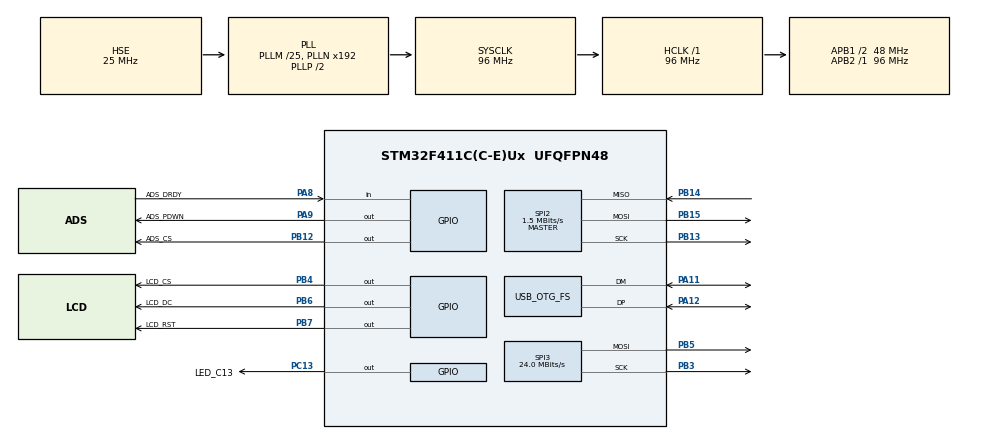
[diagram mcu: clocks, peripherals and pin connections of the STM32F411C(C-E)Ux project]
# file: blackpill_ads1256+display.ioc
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Mcu.Family=STM32F4
Mcu.Name=STM32F411C(C-E)Ux
Mcu.Package=UFQFPN48
NVIC.OTG_FS_IRQn=true\:0\:0\:false\:false\:true\:false\:true\:true
NVIC.PriorityGroup=NVIC_PRIORITYGROUP_4
PA11.Mode=Device_Only
PA11.Signal=USB_OTG_FS_DM
PA12.Mode=Device_Only
PA12.Signal=USB_OTG_FS_DP
PA8.GPIO_Label=ADS_DRDY
PA8.GPIO_PuPd=GPIO_PULLUP
PA8.Signal=GPIO_Input
PA9.GPIO_Label=ADS_PDWN
PA9.Signal=GPIO_Output
PB12.GPIO_Label=ADS_CS
PB12.Signal=GPIO_Output
PB13.Mode=Full_Duplex_Master
PB13.Signal=SPI2_SCK
PB14.Mode=Full_Duplex_Master
PB14.Signal=SPI2_MISO
PB15.Mode=Full_Duplex_Master
PB15.Signal=SPI2_MOSI
PB3.Mode=TX_Only_Simplex_Unidirect_Master
PB3.Signal=SPI3_SCK
PB4.GPIO_Label=LCD_CS
PB4.PinState=GPIO_PIN_SET
PB4.Signal=GPIO_Output
PB5.Mode=TX_Only_Simplex_Unidirect_Master
PB5.Signal=SPI3_MOSI
PB6.GPIO_Label=LCD_DC
PB6.PinState=GPIO_PIN_SET
PB6.Signal=GPIO_Output
PB7.GPIO_Label=LCD_RST
PB7.PinState=GPIO_PIN_SET
PB7.Signal=GPIO_Output
PC13-ANTI_TAMP.GPIO_Label=LED_C13
PC13-ANTI_TAMP.Signal=GPIO_Output
PH0\ -\ OSC_IN.Mode=HSE-External-Oscillator
PH0\ -\ OSC_IN.Signal=RCC_OSC_IN
PH1\ -\ OSC_OUT.Mode=HSE-External-Oscillator
PH1\ -\ OSC_OUT.Signal=RCC_OSC_OUT
ProjectManager.HeapSize=0x200
ProjectManager.StackSize=0x400
ProjectManager.TargetToolchain=STM32CubeIDE
RCC.48MHZClocksFreq_Value=48000000
RCC.AHBFreq_Value=96000000
RCC.APB1CLKDivider=RCC_HCLK_DIV2
RCC.APB1Freq_Value=48000000
RCC.APB1TimFreq_Value=96000000
RCC.APB2Freq_Value=96000000
RCC.APB2TimFreq_Value=96000000
RCC.CortexFreq_Value=96000000
RCC.HCLKFreq_Value=96000000
RCC.HSE_VALUE=25000000
RCC.HSI_VALUE=16000000
RCC.LSE_VALUE=32768
RCC.PLLM=25
RCC.SYSCLKFreq_VALUE=96000000
RCC.SYSCLKSource=RCC_SYSCLKSOURCE_PLLCLK
RCC.VCOOutputFreq_Value=192000000
SPI2.BaudRatePrescaler=SPI_BAUDRATEPRESCALER_32
SPI2.CLKPhase=SPI_PHASE_2EDGE
SPI2.CalculateBaudRate=1.5 MBits/s
SPI2.Direction=SPI_DIRECTION_2LINES
SPI2.Mode=SPI_MODE_MASTER
SPI2.VirtualType=VM_MASTER
SPI3.CalculateBaudRate=24.0 MBits/s
SPI3.Direction=SPI_DIRECTION_2LINES
SPI3.Mode=SPI_MODE_MASTER
SPI3.VirtualType=VM_MASTER
USB_DEVICE.CLASS_NAME_FS=CDC
USB_DEVICE.VirtualMode=Cdc
USB_DEVICE.VirtualModeFS=Cdc_FS
USB_OTG_FS.VirtualMode=Device_Only
VP_USB_DEVICE_VS_USB_DEVICE_CDC_FS.Mode=CDC_FS
board=custom

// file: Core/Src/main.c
#include "main.h"
#include "spi.h"
#include "usb_device.h"
#include "gpio.h"

/* USER CODE BEGIN Includes */
#include "application_config.h"
#include "adc_ads1256.h"
#include "display_st7735.h"
#include "microsecond_delay.h"
#include "usb_cdc_serial.h"

#include <stdint.h>
#include <stdio.h>
/* USER CODE END Includes */

void SystemClock_Config(void);
/* USER CODE BEGIN PFP */

static void Application_SetVectorTableToStartAfterWeActBootloader(void);
static void Application_SetInitialPinStates(void);
static void Application_DrawDisplaySelfTest(void);
/* USER CODE END PFP */

int main(void)
{

  /* USER CODE BEGIN 1 */
  Application_SetVectorTableToStartAfterWeActBootloader();

  /* USER CODE END 1 */

  /* MCU Configuration--------------------------------------------------------*/

  /* Reset of all peripherals, Initializes the Flash interface and the Systick. */
  HAL_Init();

  /* Configure the system clock */
  SystemClock_Config();

  /* Initialize all configured peripherals */
  MX_GPIO_Init();
  MX_SPI2_Init();
  MX_USB_DEVICE_Init();
  MX_SPI3_Init();
  /* USER CODE BEGIN 2 */
  MicrosecondDelay_Initialize();
  Application_SetInitialPinStates();

  /*
   * Aguarda o computador reconhecer a USB CDC.
   * No Linux, a porta normalmente aparece como /dev/ttyACM0.
   */
  HAL_Delay(2000);

  DisplayST7735_Initialize();

  DisplayST7735_FillScreen(DISPLAY_COLOR_BLACK);

  /* USER CODE END 2 */

  /* Infinite loop */
  /* USER CODE BEGIN WHILE */
  UsbCdcSerial_WriteTextBlocking("# Inicializando ADS1256...\r\n");
  AdcADS1256_Initialize();
  UsbCdcSerial_WriteTextBlocking("# ADS1256 OK. Iniciando leitura.\r\n");
  UsbCdcSerial_WriteTextBlocking("# Formato CSV: FRAME,seq,t_us,d1,d2,d3,d4\r\n");

  uint32_t sampleSequenceNumber = 0;

  while (1)
  {
    int32_t adcRawSignedValues[ADC_ADS1256_DIFFERENTIAL_CHANNEL_COUNT];
    uint32_t acquisitionTimestampMicroseconds =
        MicrosecondDelay_GetTimestampMicroseconds();

    AdcADS1256_ReadDifferentialChannelFrame(adcRawSignedValues);

    char csvLineText[128];
    int numberOfCharactersWrittenToCsvLine = snprintf(csvLineText,
                                                       sizeof(csvLineText),
                                                       "FRAME,%lu,%lu,%ld,%ld,%ld,%ld\r\n",
                                                       (unsigned long)sampleSequenceNumber,
                                                       (unsigned long)acquisitionTimestampMicroseconds,
                                                       (long)adcRawSignedValues[0],
                                                       (long)adcRawSignedValues[1],
                                                       (long)adcRawSignedValues[2],
                                                       (long)adcRawSignedValues[3]);

    if ((numberOfCharactersWrittenToCsvLine > 0) &&
        (numberOfCharactersWrittenToCsvLine < (int)sizeof(csvLineText)))
    {
      uint16_t csvLineLengthInBytes = (uint16_t)numberOfCharactersWrittenToCsvLine;

      UsbCdcSerial_WriteBytesBlocking(csvLineText, csvLineLengthInBytes);
      HAL_GPIO_TogglePin(APPLICATION_LED_GPIO_PORT,
                         APPLICATION_LED_GPIO_PIN);
    }

    sampleSequenceNumber++;
    /* USER CODE END WHILE */

  }
}

void SystemClock_Config(void)
{
  RCC_OscInitTypeDef RCC_OscInitStruct = {0};
  RCC_ClkInitTypeDef RCC_ClkInitStruct = {0};

  /** Configure the main internal regulator output voltage
  */
  __HAL_RCC_PWR_CLK_ENABLE();
  __HAL_PWR_VOLTAGESCALING_CONFIG(PWR_REGULATOR_VOLTAGE_SCALE1);

  /** Initializes the RCC Oscillators according to the specified parameters
  * in the RCC_OscInitTypeDef structure.
  */
  RCC_OscInitStruct.OscillatorType = RCC_OSCILLATORTYPE_HSE;
  RCC_OscInitStruct.HSEState = RCC_HSE_ON;
  RCC_OscInitStruct.PLL.PLLState = RCC_PLL_ON;
  RCC_OscInitStruct.PLL.PLLSource = RCC_PLLSOURCE_HSE;
  RCC_OscInitStruct.PLL.PLLM = 25;
  RCC_OscInitStruct.PLL.PLLN = 192;
  RCC_OscInitStruct.PLL.PLLP = RCC_PLLP_DIV2;
  RCC_OscInitStruct.PLL.PLLQ = 4;
  if (HAL_RCC_OscConfig(&RCC_OscInitStruct) != HAL_OK)
  {
    Error_Handler();
  }

  /** Initializes the CPU, AHB and APB buses clocks
  */
  RCC_ClkInitStruct.ClockType = RCC_CLOCKTYPE_HCLK|RCC_CLOCKTYPE_SYSCLK
                              |RCC_CLOCKTYPE_PCLK1|RCC_CLOCKTYPE_PCLK2;
  RCC_ClkInitStruct.SYSCLKSource = RCC_SYSCLKSOURCE_PLLCLK;
  RCC_ClkInitStruct.AHBCLKDivider = RCC_SYSCLK_DIV1;
  RCC_ClkInitStruct.APB1CLKDivider = RCC_HCLK_DIV2;
  RCC_ClkInitStruct.APB2CLKDivider = RCC_HCLK_DIV1;

  if (HAL_RCC_ClockConfig(&RCC_ClkInitStruct, FLASH_LATENCY_3) != HAL_OK)
  {
    Error_Handler();
  }
}

/* USER CODE BEGIN 4 */
static void Application_SetVectorTableToStartAfterWeActBootloader(void)
{
  /*
   * Como a aplicacao esta em 0x08004000 por causa do bootloader HID da WeAct,
   * a tabela de vetores tambem precisa apontar para 0x08004000.
   */
  SCB->VTOR = APPLICATION_START_ADDRESS_IN_FLASH;
  __DSB();
  __ISB();
}

static void Application_SetInitialPinStates(void)
{
  AdcADS1256_SetPinsToSafeState();
  DisplayST7735_SetPinsToSafeState();

  HAL_GPIO_WritePin(APPLICATION_LED_GPIO_PORT,
                    APPLICATION_LED_GPIO_PIN,
                    GPIO_PIN_RESET);
}

static void Application_DrawDisplaySelfTest(void)
{
  DisplayST7735_FillScreen(DISPLAY_COLOR_BLACK);

  DisplayST7735_DrawFilledRectangle(5, 5, 10, 10, DISPLAY_COLOR_GREEN);
  DisplayST7735_DrawFilledRectangle(20, 5, 10, 10, DISPLAY_COLOR_BLUE);
  DisplayST7735_DrawFilledRectangle(35, 5, 10, 10, DISPLAY_COLOR_YELLOW);
}

/* USER CODE END 4 */
